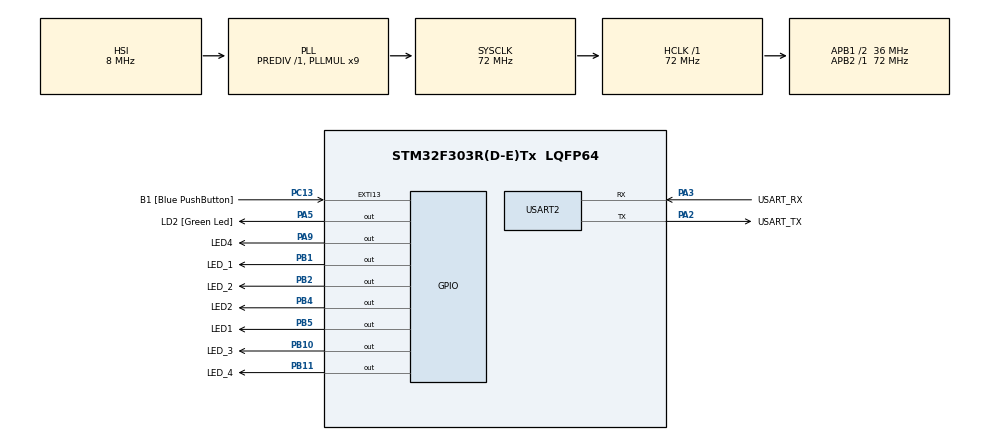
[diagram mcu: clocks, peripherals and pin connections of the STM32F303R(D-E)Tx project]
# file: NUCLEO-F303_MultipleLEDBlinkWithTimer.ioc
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Mcu.Family=STM32F3
Mcu.Name=STM32F303R(D-E)Tx
Mcu.Package=LQFP64
NVIC.PriorityGroup=NVIC_PRIORITYGROUP_0
NVIC.TIM2_IRQn=true\:0\:0\:false\:false\:true\:true\:true\:true
PA13.GPIO_Label=TMS
PA13.Mode=Serial_Wire
PA13.Signal=SYS_JTMS-SWDIO
PA14.GPIO_Label=TCK
PA14.Mode=Serial_Wire
PA14.Signal=SYS_JTCK-SWCLK
PA2.GPIO_Label=USART_TX
PA2.GPIO_Mode=GPIO_MODE_AF_PP
PA2.GPIO_PuPd=GPIO_NOPULL
PA2.GPIO_Speed=GPIO_SPEED_FREQ_LOW
PA2.Mode=Asynchronous
PA2.Signal=USART2_TX
PA3.GPIO_Label=USART_RX
PA3.GPIO_Mode=GPIO_MODE_AF_PP
PA3.GPIO_PuPd=GPIO_NOPULL
PA3.GPIO_Speed=GPIO_SPEED_FREQ_LOW
PA3.Mode=Asynchronous
PA3.Signal=USART2_RX
PA5.GPIO_Label=LD2 [Green Led]
PA5.GPIO_Mode=GPIO_MODE_OUTPUT_PP
PA5.GPIO_PuPd=GPIO_NOPULL
PA5.GPIO_Speed=GPIO_SPEED_FREQ_LOW
PA5.Signal=GPIO_Output
PA9.GPIO_Label=LED4
PA9.Signal=GPIO_Output
PB1.GPIO_Label=LED_1
PB1.Signal=GPIO_Output
PB10.GPIO_Label=LED_3
PB10.Signal=GPIO_Output
PB11.GPIO_Label=LED_4
PB11.Signal=GPIO_Output
PB2.GPIO_Label=LED_2
PB2.Signal=GPIO_Output
PB3.GPIO_Label=SWO
PB3.Signal=SYS_JTDO-TRACESWO
PB4.GPIO_Label=LED2
PB4.Signal=GPIO_Output
PB5.GPIO_Label=LED1
PB5.Signal=GPIO_Output
PC13.GPIO_Label=B1 [Blue PushButton]
PC13.GPIO_ModeDefaultEXTI=GPIO_MODE_IT_FALLING
PC13.Signal=GPXTI13
PC14-OSC32_IN.Mode=LSE-External-Oscillator
PC14-OSC32_IN.Signal=RCC_OSC32_IN
PC15-OSC32_OUT.Mode=LSE-External-Oscillator
PC15-OSC32_OUT.Signal=RCC_OSC32_OUT
PF0-OSC_IN.Mode=HSE-External-Clock-Source
PF0-OSC_IN.Signal=RCC_OSC_IN
PF1-OSC_OUT.Signal=RCC_OSC_OUT
ProjectManager.HeapSize=0x200
ProjectManager.StackSize=0x400
ProjectManager.TargetToolchain=CMake
RCC.AHBFreq_Value=72000000
RCC.APB1CLKDivider=RCC_HCLK_DIV2
RCC.APB1Freq_Value=36000000
RCC.APB1TimFreq_Value=72000000
RCC.APB2Freq_Value=72000000
RCC.APB2TimFreq_Value=72000000
RCC.CortexFreq_Value=72000000
RCC.HCLKFreq_Value=72000000
RCC.HSE_VALUE=8000000
RCC.HSI_VALUE=8000000
RCC.PLLM=8
RCC.PLLMUL=RCC_PLL_MUL9
RCC.PLLN=336
RCC.PLLP=RCC_PLLP_DIV4
RCC.PLLQ=7
RCC.RCC_PLLsource_Clock_Source_FROM_HSE=RCC_HSE_PREDIV_DIV2
RCC.SYSCLKFreq_VALUE=72000000
RCC.SYSCLKSourceVirtual=RCC_SYSCLKSOURCE_PLLCLK
RCC.USBFreq_Value=72000000
TIM2.Period=1000-1
TIM2.Prescaler=72-1
USART2.VirtualMode-Asynchronous=VM_ASYNC
VP_TIM2_VS_ClockSourceINT.Mode=Internal
board=NUCLEO-F303RE

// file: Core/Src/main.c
/* USER CODE BEGIN Header */
/**
  ******************************************************************************
  * @file           : main.c
  * @brief          : Main program body
  ******************************************************************************
  * @attention
  *
  * Copyright (c) 2026 STMicroelectronics.
  * All rights reserved.
  *
  * This software is licensed under terms that can be found in the LICENSE file
  * in the root directory of this software component.
  * If no LICENSE file comes with this software, it is provided AS-IS.
  *
  ******************************************************************************
  */
/* USER CODE END Header */
#include "main.h"

TIM_HandleTypeDef htim2;

UART_HandleTypeDef huart2;

/* USER CODE BEGIN PV */
static volatile uint32_t led1Ticks = 0;
static volatile uint32_t led2Ticks = 0;
static volatile uint32_t led3Ticks = 0;
static volatile uint32_t led4Ticks = 0;
/* USER CODE END PV */

void SystemClock_Config(void);
static void MX_GPIO_Init(void);
static void MX_TIM2_Init(void);
static void MX_USART2_UART_Init(void);
/* USER CODE BEGIN PFP */
void Task_LED_Blink(void);
/* USER CODE END PFP */

int main(void)
{

  /* MCU Configuration--------------------------------------------------------*/

  /* Reset of all peripherals, Initializes the Flash interface and the Systick. */
  HAL_Init();

  /* Configure the system clock */
  SystemClock_Config();

  /* Initialize all configured peripherals */
  MX_GPIO_Init();
  MX_TIM2_Init();
  MX_USART2_UART_Init();
  /* USER CODE BEGIN 2 */
  HAL_TIM_Base_Start_IT(&htim2);
  /* USER CODE END 2 */

  /* Infinite loop */
  /* USER CODE BEGIN WHILE */
  while (1)
  {
    Task_LED_Blink();
    /* USER CODE END WHILE */

  }
}

void SystemClock_Config(void)
{
  RCC_OscInitTypeDef RCC_OscInitStruct = {0};
  RCC_ClkInitTypeDef RCC_ClkInitStruct = {0};
  RCC_PeriphCLKInitTypeDef PeriphClkInit = {0};

  /** Initializes the RCC Oscillators according to the specified parameters
  * in the RCC_OscInitTypeDef structure.
  */
  RCC_OscInitStruct.OscillatorType = RCC_OSCILLATORTYPE_HSI;
  RCC_OscInitStruct.HSIState = RCC_HSI_ON;
  RCC_OscInitStruct.HSICalibrationValue = RCC_HSICALIBRATION_DEFAULT;
  RCC_OscInitStruct.PLL.PLLState = RCC_PLL_ON;
  RCC_OscInitStruct.PLL.PLLSource = RCC_PLLSOURCE_HSI;
  RCC_OscInitStruct.PLL.PLLMUL = RCC_PLL_MUL9;
  RCC_OscInitStruct.PLL.PREDIV = RCC_PREDIV_DIV1;
  if (HAL_RCC_OscConfig(&RCC_OscInitStruct) != HAL_OK)
  {
    Error_Handler();
  }

  /** Initializes the CPU, AHB and APB buses clocks
  */
  RCC_ClkInitStruct.ClockType = RCC_CLOCKTYPE_HCLK|RCC_CLOCKTYPE_SYSCLK
                              |RCC_CLOCKTYPE_PCLK1|RCC_CLOCKTYPE_PCLK2;
  RCC_ClkInitStruct.SYSCLKSource = RCC_SYSCLKSOURCE_PLLCLK;
  RCC_ClkInitStruct.AHBCLKDivider = RCC_SYSCLK_DIV1;
  RCC_ClkInitStruct.APB1CLKDivider = RCC_HCLK_DIV2;
  RCC_ClkInitStruct.APB2CLKDivider = RCC_HCLK_DIV1;

  if (HAL_RCC_ClockConfig(&RCC_ClkInitStruct, FLASH_LATENCY_2) != HAL_OK)
  {
    Error_Handler();
  }
  PeriphClkInit.PeriphClockSelection = RCC_PERIPHCLK_USART2|RCC_PERIPHCLK_TIM2;
  PeriphClkInit.Usart2ClockSelection = RCC_USART2CLKSOURCE_PCLK1;
  PeriphClkInit.Tim2ClockSelection = RCC_TIM2CLK_HCLK;
  if (HAL_RCCEx_PeriphCLKConfig(&PeriphClkInit) != HAL_OK)
  {
    Error_Handler();
  }
}

static void MX_TIM2_Init(void)
{

  TIM_ClockConfigTypeDef sClockSourceConfig = {0};
  TIM_MasterConfigTypeDef sMasterConfig = {0};

  htim2.Instance = TIM2;
  htim2.Init.Prescaler = 72-1;
  htim2.Init.CounterMode = TIM_COUNTERMODE_UP;
  htim2.Init.Period = 1000-1;
  htim2.Init.ClockDivision = TIM_CLOCKDIVISION_DIV1;
  htim2.Init.AutoReloadPreload = TIM_AUTORELOAD_PRELOAD_DISABLE;
  if (HAL_TIM_Base_Init(&htim2) != HAL_OK)
  {
    Error_Handler();
  }
  sClockSourceConfig.ClockSource = TIM_CLOCKSOURCE_INTERNAL;
  if (HAL_TIM_ConfigClockSource(&htim2, &sClockSourceConfig) != HAL_OK)
  {
    Error_Handler();
  }
  sMasterConfig.MasterOutputTrigger = TIM_TRGO_RESET;
  sMasterConfig.MasterSlaveMode = TIM_MASTERSLAVEMODE_DISABLE;
  if (HAL_TIMEx_MasterConfigSynchronization(&htim2, &sMasterConfig) != HAL_OK)
  {
    Error_Handler();
  }

}

static void MX_USART2_UART_Init(void)
{

  huart2.Instance = USART2;
  huart2.Init.BaudRate = 38400;
  huart2.Init.WordLength = UART_WORDLENGTH_8B;
  huart2.Init.StopBits = UART_STOPBITS_1;
  huart2.Init.Parity = UART_PARITY_NONE;
  huart2.Init.Mode = UART_MODE_TX_RX;
  huart2.Init.HwFlowCtl = UART_HWCONTROL_NONE;
  huart2.Init.OverSampling = UART_OVERSAMPLING_16;
  huart2.Init.OneBitSampling = UART_ONE_BIT_SAMPLE_DISABLE;
  huart2.AdvancedInit.AdvFeatureInit = UART_ADVFEATURE_NO_INIT;
  if (HAL_UART_Init(&huart2) != HAL_OK)
  {
    Error_Handler();
  }

}

static void MX_GPIO_Init(void)
{
  GPIO_InitTypeDef GPIO_InitStruct = {0};

  /* GPIO Ports Clock Enable */
  __HAL_RCC_GPIOC_CLK_ENABLE();
  __HAL_RCC_GPIOF_CLK_ENABLE();
  __HAL_RCC_GPIOA_CLK_ENABLE();
  __HAL_RCC_GPIOB_CLK_ENABLE();

  /*Configure GPIO pin Output Level */
  HAL_GPIO_WritePin(GPIOA, LD2_Pin|LED4_Pin, GPIO_PIN_RESET);

  /*Configure GPIO pin Output Level */
  HAL_GPIO_WritePin(GPIOB, LED_1_Pin|LED_2_Pin|LED_3_Pin|LED_4_Pin
                          |LED2_Pin|LED1_Pin, GPIO_PIN_RESET);

  /*Configure GPIO pin : B1_Pin */
  GPIO_InitStruct.Pin = B1_Pin;
  GPIO_InitStruct.Mode = GPIO_MODE_IT_FALLING;
  GPIO_InitStruct.Pull = GPIO_NOPULL;
  HAL_GPIO_Init(B1_GPIO_Port, &GPIO_InitStruct);

  /*Configure GPIO pins : LD2_Pin LED4_Pin */
  GPIO_InitStruct.Pin = LD2_Pin|LED4_Pin;
  GPIO_InitStruct.Mode = GPIO_MODE_OUTPUT_PP;
  GPIO_InitStruct.Pull = GPIO_NOPULL;
  GPIO_InitStruct.Speed = GPIO_SPEED_FREQ_LOW;
  HAL_GPIO_Init(GPIOA, &GPIO_InitStruct);

  /*Configure GPIO pins : LED_1_Pin LED_2_Pin LED_3_Pin LED_4_Pin
                           LED2_Pin LED1_Pin */
  GPIO_InitStruct.Pin = LED_1_Pin|LED_2_Pin|LED_3_Pin|LED_4_Pin
                          |LED2_Pin|LED1_Pin;
  GPIO_InitStruct.Mode = GPIO_MODE_OUTPUT_PP;
  GPIO_InitStruct.Pull = GPIO_NOPULL;
  GPIO_InitStruct.Speed = GPIO_SPEED_FREQ_LOW;
  HAL_GPIO_Init(GPIOB, &GPIO_InitStruct);

}

/* USER CODE BEGIN 4 */
void HAL_TIM_PeriodElapsedCallback(TIM_HandleTypeDef *htim)
{
    if (htim->Instance == TIM2)
    {
        led1Ticks++;
        led2Ticks++;
        led3Ticks++;
        led4Ticks++;
    }
}

void Task_LED_Blink(void)
{
    // LED 1: 0.5 Hz
    if (led1Ticks >= 210)
    {
        led1Ticks = 0;
        HAL_GPIO_TogglePin(LED_1_GPIO_Port, LED_1_Pin);
    }

    // LED 2: 3 Hz
    if (led2Ticks >= 35)
    {
        led2Ticks = 0;
        HAL_GPIO_TogglePin(LED_2_GPIO_Port, LED_2_Pin);
    }

    // LED 3: 7 Hz
    if (led3Ticks >= 15)
    {
        led3Ticks = 0;
        HAL_GPIO_TogglePin(LED_3_GPIO_Port, LED_3_Pin);
    }

    // LED 4: 15 Hz
    if (led4Ticks >= 7)
    {
        led4Ticks = 0;
        HAL_GPIO_TogglePin(LED_4_GPIO_Port, LED_4_Pin);
    }
}
/* USER CODE END 4 */

void Error_Handler(void)
{
  __disable_irq();
  while (1)
  {
  }
}
